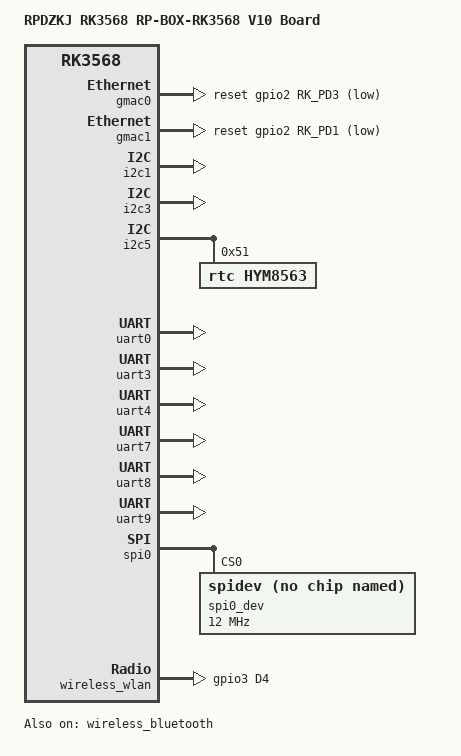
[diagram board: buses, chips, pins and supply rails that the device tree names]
// SPDX-License-Identifier: (GPL-2.0+ OR MIT)
/*
 * Copyright (c) 2020 Rockchip Electronics Co., Ltd.
 *
 */

/dts-v1/;

//rk3568-evb1-ddr4-v10
//#include "rk3568-evb1-ddr4-v10.dtsi"

#include "rk3568-evb-rpdzkj-rk809.dtsi"


#include "rk3568-linux.dtsi"

/*************************camera***********************/
//#include "rp-mipi-camera-gc2093-rk3568.dtsi"
#include "rp-mipi-camera-gc2093-imx334-imx415-rk3568.dtsi"
/***************************************************/


/*************************adc key***********************/
#include "rp-adc-key.dtsi"
/***************************************************/

/*************************gmac***********************/
#include "rp-gmac0-pro-rk3568.dtsi"
#include "rp-gmac1-m1-pro-rk3568.dtsi"
/***************************************************/
/***************** SINGLE LCD (LCD + HDMI) ****************/
#include "rp-box-rk3568-lcd-gpio.dtsi"	// if use lcd, must enable it
/* HDMI only */
//#include "rp-lcd-hdmi.dtsi"

/* MIPI DSI0 */
//#include "rp-lcd-mipi0-5-720-1280-v2-boxTP.dtsi"
#include "rp-lcd-mipi0-7-720-1280.dtsi"
//#include "rp-lcd-mipi0-8-800-1280-v3.dtsi"
//#include "rp-lcd-mipi0-8-1200-1920.dtsi"
//#include "rp-lcd-mipi0-10-800-1280-v3.dtsi"
//#include "rp-lcd-mipi0-10-1200-1920.dtsi"

/** LVDS */
//#include "rp-lcd-lvds-10-1024-600-raw.dtsi"
//#include "rp-lcd-lvds-7-1024-600-v2.dtsi"
//#include "rp-lcd-lvds-10-1280-800.dtsi"

/* EDP */
//#include "rp-lcd-edp-13.3-15.6-1920-1080.dtsi"
/************************ MULTILPLE LCD *********************/
/* EDP + MIPI0/lvds */
//#include "rp-lcd-triple-lvds-10-1024-600-edp-13-1920-1080-hdmi.dtsi"









/{
	model = "RPDZKJ RK3568 RP-BOX-RK3568 V10 Board";
	compatible = "rpdzkj,rp-box-rk3568", "rockchip,rk3568";


        rp_power{
                status = "okay";
                compatible = "rp_power";
                rp_not_deep_sleep = <1>;

                //#define GPIO_FUNCTION_OUTPUT 0
                //#define GPIO_FUNCTION_INPUT 1
                //#define GPIO_FUNCTION_IRQ 2
                //#define GPIO_FUNCTION_FLASH 3
                //#define GPIO_FUNCTION_OUTPUT_CTRL 4
                
                /**
                 * gpioxxx {                    // the node name will display on /proc/rp_power, you can define any character string
                 *      gpio_num = <>;          // gpio you want ot control
                 *      gpio_function = <>;     // function of current gpio, refer to above define.
                 * };
                 */
                   
                
                pwr_5v_3v3 {       //vdd5v vdd3v3 en
                        gpio_num = <&gpio3 RK_PB5 GPIO_ACTIVE_HIGH>;
                        gpio_function = <0>;
                };
                pwr_4g {	    //vdd_3G 3.3v enable
                        gpio_num = <&gpio0 RK_PC2 GPIO_ACTIVE_HIGH>;
                        gpio_function = <4>;
                };
                led {	//system led
                        gpio_num = <&gpio3 RK_PA7 GPIO_ACTIVE_HIGH>;
                        gpio_function = <4>;
                };
                usb_pwr {       //usb power
                        gpio_num = <&gpio2 RK_PD5 GPIO_ACTIVE_HIGH>;
                        gpio_function = <4>;
                };
                hub_rst {       //hub reset
                        gpio_num = <&gpio2 RK_PD7 GPIO_ACTIVE_HIGH>;
                        gpio_function = <4>;
                };
                fan {	//fan
                        gpio_num = <&gpio3 RK_PB6 GPIO_ACTIVE_HIGH>;
                        gpio_function = <4>;
                };
                otg_mode {       //OTG SWITCH, high is mean otg_id to 0, force host mode
                        gpio_num = <&gpio2 RK_PD6 GPIO_ACTIVE_LOW>;
                        gpio_function = <4>;
                };
                otg_power {       //usb otg power
                        gpio_num = <&gpio2 RK_PD4 GPIO_ACTIVE_HIGH>;
                        gpio_function = <4>;
                };

                spk_en {       //spk enable
                        gpio_num = <&gpio3 RK_PA6 GPIO_ACTIVE_HIGH>;
                        gpio_function = <4>;
                };
                spk_mute {       //spk mute
                        gpio_num = <&gpio3 RK_PA3 GPIO_ACTIVE_LOW>;
                        gpio_function = <4>;
                };
				};

        rp_gpio{
                status = "okay";
                compatible = "rp_gpio";
                
                /**
                 * gpioxxx {                    // the node name will display on /proc/rp_gpio, you can define any character string
                 *      gpio_num = <>;          // gpio you want ot control
                 *      gpio_function = <>;     // function of current gpio： 0 output, 1 input, 3 blink
                 *      gpio_event = <KEY_F14>; // optional property used to define gpio report event such as KEY_F14, only works in case of gpio_function = <1>;
                 *    };
                 */
                                   
                
                /****** GPIO, place you want to control as below
                 * gpio_name {
                 *       gpio_num = <&gpio3 RK_PA6 GPIO_ACTIVE_HIGH>;
                 *       gpio_function = <4>;
                 * };
                 */

        };

};


&pmu_io_domains {
        status = "okay";
        pmuio2-supply = <&vcc3v3_pmu>;
        vccio1-supply = <&vccio_acodec>;
        vccio3-supply = <&vccio_sd>;
        vccio4-supply = <&vcc_1v8>;
        vccio5-supply = <&vcc_3v3>;
        vccio6-supply = <&vcc_1v8>;
        vccio7-supply = <&vcc_3v3>;
};


&gmac0 {
        status = "okay";
        tx_delay = <0x3a>;
        rx_delay = <0x2e>;
        snps,reset-gpio = <&gpio2 RK_PD3 GPIO_ACTIVE_LOW>;
        //max-speed = <100>;  /* set eth maximal speed, default automatically adapt */
};
&gmac1 {
        status = "okay";
        tx_delay = <0x42>;
        rx_delay = <0x27>;
        snps,reset-gpio = <&gpio2 RK_PD1 GPIO_ACTIVE_LOW>;
};

&i2c1 {
	status = "okay";
};


&i2c3 {
	status = "okay";
};


&i2c5 {
	status = "okay";
        rtc@51 {
                status = "okay";
                compatible = "rtc,hym8563";
                reg = <0x51>;
        };
};


&uart0 {
	status = "okay";
};

&uart3 {
	status = "okay";
	pinctrl-names = "default";
	pinctrl-0 = <&uart3m1_xfer>;
};

&uart4 {
	status = "okay";
	pinctrl-names = "default";
	pinctrl-0 = <&uart4m1_xfer>;
};

&uart7 {
	status = "okay";
	pinctrl-names = "default";
	pinctrl-0 = <&uart7m1_xfer>;
};

&uart8 {
	status = "okay";
	pinctrl-names = "default";
	pinctrl-0 = <&uart8m0_xfer &uart8m0_ctsn>;
};

&uart9 {
	status = "okay";
	pinctrl-names = "default";
	pinctrl-0 = <&uart9m1_xfer>;
};


&spi0 {
	status = "okay";

    spi0_dev@0 {
        compatible = "rockchip,spidev";
        reg = <0>;
        spi-max-frequency = <12000000>;
        spi-lsb-first;
    };

};

&spi1 {
        status = "disabled";
};


/******** must be close,if not system no run ******/
&dmc {
       status = "disabled";
};

&dfi {
       status = "disabled";
};
/*********************************************/


&pwm7 {
        status = "disabled";
};

/*************************wifi bt***********************/
&wireless_wlan {
	pinctrl-names = "default";
	pinctrl-0 = <&wifi_host_wake_irq>;
	WIFI,host_wake_irq = <&gpio3 RK_PD4 GPIO_ACTIVE_HIGH>;
};

&wireless_bluetooth {
	BT,reset_gpio    = <&gpio4 RK_PC4 GPIO_ACTIVE_HIGH>;
	BT,wake_gpio     = <&gpio4 RK_PB4 GPIO_ACTIVE_HIGH>;
  	BT,wake_host_irq = <&gpio4 RK_PB5 GPIO_ACTIVE_HIGH>;
	status = "okay";
};

/******************************************************/


&rk_headset {
	pinctrl-names = "default";
	pinctrl-0 = <&hp_det>;
	headset_gpio = <&gpio4 RK_PC2 GPIO_ACTIVE_HIGH>;
};




/****** rp3568 camera configuration adjustment ******/
&vcc_camera {
        pinctrl-0 = <&camera_pwr>;
        gpio = <&gpio3 RK_PC1 GPIO_ACTIVE_HIGH>;
};
&gc2093 {
        pwdn-gpios = <&gpio3 RK_PC3 GPIO_ACTIVE_HIGH>;
        reset-gpios = <&gpio4 RK_PC3 GPIO_ACTIVE_LOW>;
};
&imx334{
     pwdn-gpios = <&gpio3 RK_PC3 GPIO_ACTIVE_HIGH>;
     reset-gpios = <&gpio4 RK_PC3 GPIO_ACTIVE_HIGH>;
};

&imx415{
     pwdn-gpios = <&gpio3 RK_PC3 GPIO_ACTIVE_HIGH>;
     reset-gpios = <&gpio4 RK_PC3 GPIO_ACTIVE_LOW>;
};


&edp {
    /** delete hdp gpio that rp-box-rk3568 donot use */
    /delete-property/ hpd-gpios;
};

&pinctrl {
	wireless-wlan {
		wifi_host_wake_irq: wifi-host-wake-irq {
			rockchip,pins = <3 RK_PD4 RK_FUNC_GPIO &pcfg_pull_down>;
		};
	};

	wireless-bluetooth {
		uart8_gpios: uart8-gpios {
			rockchip,pins = <2 RK_PB1 RK_FUNC_GPIO &pcfg_pull_none>;
		};
	};	
	headphone {
		hp_det: hp-det {
			rockchip,pins = <4 RK_PC2 RK_FUNC_GPIO &pcfg_pull_down>;
		};
	};
        cam {
                camera_pwr: camera-pwr {
                        rockchip,pins =
                                /* camera power en */
                                <3 RK_PC1 RK_FUNC_GPIO &pcfg_pull_none>;
                };
        };
        rp_pin {
                otg_5ven: otg-5ven {
                        rockchip,pins =
                                /* otg port host power en */
                                <2 RK_PD4 RK_FUNC_GPIO &pcfg_pull_none>;
                };
                host_5ven: host-5ven {
                        rockchip,pins =
                                /* usb host power en */
                                <2 RK_PD5 RK_FUNC_GPIO &pcfg_pull_none>;
                };
                vdd3g_en: vdd3g-en {
                        rockchip,pins =
                                /* 4G module power en */
                                <0 RK_PC2 RK_FUNC_GPIO &pcfg_pull_none>;
                };
        };
};

&rk809_sound {
        /delete-property/ simple-audio-card,hp-det-gpio;
        /delete-property/ simple-audio-card,widgets;
};
